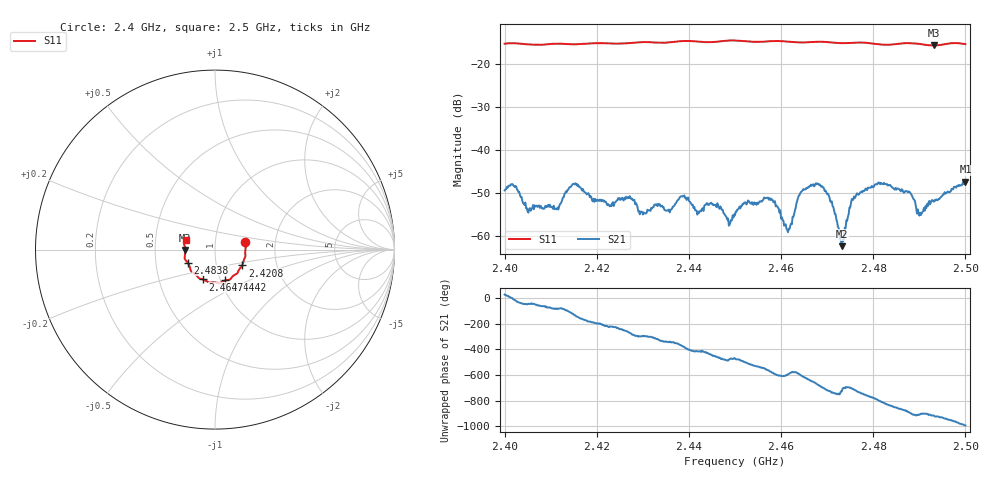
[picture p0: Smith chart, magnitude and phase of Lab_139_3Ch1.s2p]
# Hz S RI R 50
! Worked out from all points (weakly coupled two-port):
!   601 points, 2.4 GHz to 2.5 GHz, reference 50 ohm
!   highest |S21| = -47.29 dB at 2.5 GHz (marker M1); lowest = -62.3 dB at 2.4732 GHz (marker M2)
!   lowest |S11| = -15.6 dB at 2.4932 GHz (marker M3), VSWR 1.40, Z = 35.8 - j0.127 ohm
!   |S11| at or under -10 dB: start of sweep to end of sweep
!   S12 and S22 are empty: the file has one direction only
!   S11 on the Smith chart (normalised r, x): 2.4 GHz: 1.40, +0.12; 2.4208 GHz: 1.33, -0.24; 2.4442 GHz: 1.05, -0.37; 2.4647 GHz: 0.83, -0.29; 2.4838 GHz: 0.73, -0.11; 2.5 GHz: 0.71, +0.08
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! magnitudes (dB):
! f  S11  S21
! 2.4 GHz  -15.2  -49.3
! 2.402 GHz  -15.1  -48.4
! 2.4055 GHz  -15.4  -53.5
! 2.4167 GHz  -15.3  -49.0
! 2.4208 GHz  -15.1  -51.5
! 2.4333 GHz  -15.0  -52.5
! 2.4442 GHz  -14.9  -52.7
! 2.4488 GHz  -14.5  -57.3
! 2.45 GHz  -14.5  -55.1
! 2.4573 GHz  -14.7  -51.5
! 2.4617 GHz  -14.8  -58.3
! 2.4647 GHz  -14.9  -49.4
! 2.4667 GHz  -14.8  -48.3
! 2.47 GHz  -14.8  -50.2
! 2.4732 GHz  -15.1  -62.3
! 2.4758 GHz  -15.0  -50.8
! 2.4833 GHz  -15.5  -48.1
! 2.4838 GHz  -15.4  -48.4
! 2.4878 GHz  -15.1  -49.7
! 2.49 GHz  -15.3  -55.2
! 2.4932 GHz  -15.6  -52.0
! 2.5 GHz  -15.3  -47.3
